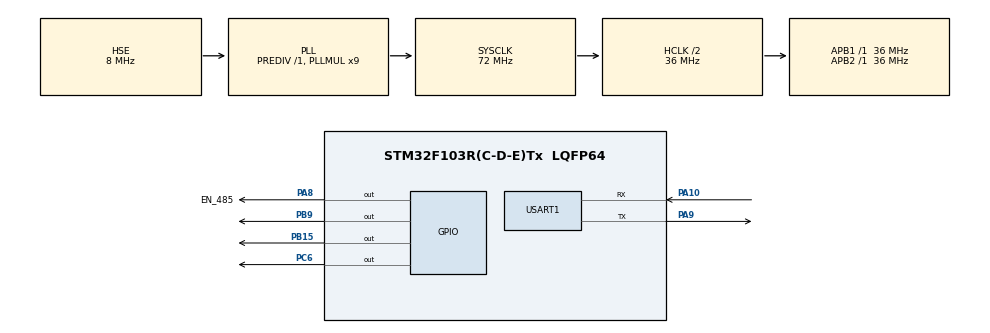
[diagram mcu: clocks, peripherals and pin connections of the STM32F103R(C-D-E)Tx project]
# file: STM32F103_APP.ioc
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Mcu.Family=STM32F1
Mcu.Name=STM32F103R(C-D-E)Tx
Mcu.Package=LQFP64
NVIC.PriorityGroup=NVIC_PRIORITYGROUP_4
NVIC.USART1_IRQn=true\:0\:0\:false\:false\:true\:true\:true\:true
PA10.Mode=Asynchronous
PA10.Signal=USART1_RX
PA13.Mode=Serial_Wire
PA13.Signal=SYS_JTMS-SWDIO
PA14.Mode=Serial_Wire
PA14.Signal=SYS_JTCK-SWCLK
PA8.GPIO_Label=EN_485
PA8.Signal=GPIO_Output
PA9.Mode=Asynchronous
PA9.Signal=USART1_TX
PB15.PinState=GPIO_PIN_SET
PB15.Signal=GPIO_Output
PB9.PinState=GPIO_PIN_SET
PB9.Signal=GPIO_Output
PC6.PinState=GPIO_PIN_SET
PC6.Signal=GPIO_Output
PD0-OSC_IN.Mode=HSE-External-Oscillator
PD0-OSC_IN.Signal=RCC_OSC_IN
PD1-OSC_OUT.Mode=HSE-External-Oscillator
PD1-OSC_OUT.Signal=RCC_OSC_OUT
ProjectManager.HeapSize=0x200
ProjectManager.StackSize=0x400
ProjectManager.TargetToolchain=MDK-ARM V5.32
RCC.AHBCLKDivider=RCC_SYSCLK_DIV2
RCC.AHBFreq_Value=36000000
RCC.APB1Freq_Value=36000000
RCC.APB1TimFreq_Value=36000000
RCC.APB2Freq_Value=36000000
RCC.APB2TimFreq_Value=36000000
RCC.HCLKFreq_Value=36000000
RCC.PLLMUL=RCC_PLL_MUL9
RCC.PLLSourceVirtual=RCC_PLLSOURCE_HSE
RCC.SYSCLKFreq_VALUE=72000000
RCC.SYSCLKSource=RCC_SYSCLKSOURCE_PLLCLK
RCC.USBFreq_Value=72000000
USART1.VirtualMode=VM_ASYNC
board=custom

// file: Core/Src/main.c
/* USER CODE BEGIN Header */
/**
  ******************************************************************************
  * @file           : main.c
  * @brief          : Main program body
  ******************************************************************************
  * @attention
  *
  * Copyright (c) 2026 STMicroelectronics.
  * All rights reserved.
  *
  * This software is licensed under terms that can be found in the LICENSE file
  * in the root directory of this software component.
  * If no LICENSE file comes with this software, it is provided AS-IS.
  *
  ******************************************************************************
  */
/* USER CODE END Header */
#include "main.h"
#include "usart.h"
#include "gpio.h"

/* USER CODE BEGIN Includes */
#include "stdio.h"
#include "multiple_delay.h"
#include "micro_shell.h"
#include "subscribe_publish.h"
/* USER CODE END Includes */

void SystemClock_Config(void);

/* USER CODE BEGIN 0 */
static micro_shell_t                 s_tShellObj;
static subscribe_publish_t           s_tSubPub;
uint8_t s_chBuffer[1024] ;
static byte_queue_t                  s_tUartQueue;
def_topic(&s_tSubPub, string_test_topic, char*);

multiple_delay_t tDelayService;
static uint8_t s_chDelayPool[10 * sizeof(multiple_delay_item_t)];

typedef struct {
	multiple_delay_item_t *ptDelayItem;
    uint32_t delay_tick;
    multiple_delay_request_priority_t priority;
} delay_task_param_t;

static delay_task_param_t s_tHighTask = {
    .delay_tick = 1000,
    .priority = MULTIPLE_DELAY_HIGH_PRIORITY,
};

static delay_task_param_t s_tNormalTask = {
    .delay_tick = 2000,
    .priority = MULTIPLE_DELAY_NORMAL_PRIORITY,
};

static delay_task_param_t s_tLowTask = {
    .delay_tick = 3000,
    .priority = MULTIPLE_DELAY_LOW_PRIORITY,
};

void on_delay_task_high(multiple_delay_report_status_t status, void *pTag)
{
    delay_task_param_t *ptTask = (delay_task_param_t *)pTag;

    if (status == MULTIPLE_DELAY_TIMEOUT) {

        publish(&s_tSubPub, __MSG_TOPIC(string_test_topic), (char *)"high");

        ptTask->ptDelayItem = MULTIPLE_DELAY.RequestDelay(
            &tDelayService,
            ptTask->delay_tick,
            ptTask->priority,
            ptTask,
            on_delay_task_high
        );
    }
}

void on_delay_task_normal(multiple_delay_report_status_t status, void *pTag)
{
    delay_task_param_t *ptTask = (delay_task_param_t *)pTag;

    if (status == MULTIPLE_DELAY_TIMEOUT) {
        printf("normal\r\n");

        ptTask->ptDelayItem = MULTIPLE_DELAY.RequestDelay(
            &tDelayService,
            ptTask->delay_tick,
            ptTask->priority,
            ptTask,
            on_delay_task_normal
        );
    }
}

void on_delay_task_low(multiple_delay_report_status_t status, void *pTag)
{
    delay_task_param_t *ptTask = (delay_task_param_t *)pTag;

    if (status == MULTIPLE_DELAY_TIMEOUT) {
        printf("low\r\n");

        ptTask->ptDelayItem = MULTIPLE_DELAY.RequestDelay(
            &tDelayService,
            ptTask->delay_tick,
            ptTask->priority,
            ptTask,
            on_delay_task_low
        );
    }
}

void task_high_task(delay_task_param_t *ptTask, char *chDate)
{
    printf("%s\r\n",chDate);
}

uint16_t shell_read_data(micro_shell_t *ptObj, char *pchBuffer, uint16_t hwSize)
{
    return dequeue_bytes(&s_tUartQueue, (uint8_t *)pchBuffer, hwSize);
}

uint16_t shell_write_data(micro_shell_t *ptObj, const char *pchBuffer, uint16_t hwSize)
{
    uart_sent_data(&huart1, (uint8_t *)pchBuffer, hwSize);
	return hwSize;
}

int reboot(void)
{
    SCB->AIRCR = 0X05FA0000 | (uint32_t)0x04;
    return 0;
}
MSH_CMD_EXPORT(reboot, reboot)

int cancel(int argc, char **argv)
{
	if(!strcmp(argv[1], "high")) {
        MULTIPLE_DELAY.Cancel(&tDelayService,s_tHighTask.ptDelayItem);
	}
	if(!strcmp(argv[1], "normal")) {
        MULTIPLE_DELAY.Cancel(&tDelayService,s_tNormalTask.ptDelayItem);
	}
	if(!strcmp(argv[1], "low")) {
        MULTIPLE_DELAY.Cancel(&tDelayService,s_tLowTask.ptDelayItem);
	}
    return 0;
}
MSH_CMD_EXPORT(cancel,eg:cancel high/normal/low)

/* USER CODE END 0 */

int main(void)
{

  /* MCU Configuration--------------------------------------------------------*/

  /* Reset of all peripherals, Initializes the Flash interface and the Systick. */
  HAL_Init();

  /* USER CODE BEGIN Init */

	SCB->VTOR = APP_PART_ADDR;
  /* USER CODE END Init */

  /* Configure the system clock */
  SystemClock_Config();

  /* USER CODE BEGIN SysInit */
	queue_init(&s_tUartQueue, s_chBuffer, sizeof(s_chBuffer));
	connect(&tUartMsgObj, SIGNAL(uart_sig), &s_tUartQueue, SLOT(enqueue_bytes));
  /* USER CODE END SysInit */

  /* Initialize all configured peripherals */
  MX_GPIO_Init();
  MX_USART1_UART_Init();
  /* USER CODE BEGIN 2 */

    shell_ops_t s_tOps = {
        .fnReadData = shell_read_data,
		.fnWriteData = shell_write_data,
    };
    shell_init(&s_tShellObj,&s_tOps);

    multiple_delay_cfg_t cfg = {
        .pchBuffer = s_chDelayPool,
        .nSize = sizeof(s_chDelayPool),
    };
    MULTIPLE_DELAY.Init(&tDelayService, &cfg);

    s_tHighTask.ptDelayItem = MULTIPLE_DELAY.RequestDelay(
        &tDelayService,
        s_tHighTask.delay_tick,
        s_tHighTask.priority,
        &s_tHighTask,
        on_delay_task_high
    );

    s_tNormalTask.ptDelayItem = MULTIPLE_DELAY.RequestDelay(
        &tDelayService,
        s_tNormalTask.delay_tick,
        s_tNormalTask.priority,
        &s_tNormalTask,
        on_delay_task_normal
    );

    s_tLowTask.ptDelayItem = MULTIPLE_DELAY.RequestDelay(
        &tDelayService,
        s_tLowTask.delay_tick,
        s_tLowTask.priority,
        &s_tLowTask,
        on_delay_task_low
    );

    subscribe_publish_init(&s_tSubPub);
    subscribe(&s_tSubPub, __MSG_TOPIC(string_test_topic), &s_tHighTask, task_high_task);

  /* USER CODE END 2 */

  /* Infinite loop */
  while (1)
  {

    /* USER CODE BEGIN 3 */
	  micro_shell_exec(&s_tShellObj );
      subscribe_publish_exec(&s_tSubPub);
	  MULTIPLE_DELAY.Task(&tDelayService);
  }
  /* USER CODE END 3 */
}

void SystemClock_Config(void)
{
  RCC_OscInitTypeDef RCC_OscInitStruct = {0};
  RCC_ClkInitTypeDef RCC_ClkInitStruct = {0};

  /** Initializes the RCC Oscillators according to the specified parameters
  * in the RCC_OscInitTypeDef structure.
  */
  RCC_OscInitStruct.OscillatorType = RCC_OSCILLATORTYPE_HSE;
  RCC_OscInitStruct.HSEState = RCC_HSE_ON;
  RCC_OscInitStruct.HSEPredivValue = RCC_HSE_PREDIV_DIV1;
  RCC_OscInitStruct.HSIState = RCC_HSI_ON;
  RCC_OscInitStruct.PLL.PLLState = RCC_PLL_ON;
  RCC_OscInitStruct.PLL.PLLSource = RCC_PLLSOURCE_HSE;
  RCC_OscInitStruct.PLL.PLLMUL = RCC_PLL_MUL9;
  if (HAL_RCC_OscConfig(&RCC_OscInitStruct) != HAL_OK)
  {
    Error_Handler();
  }

  /** Initializes the CPU, AHB and APB buses clocks
  */
  RCC_ClkInitStruct.ClockType = RCC_CLOCKTYPE_HCLK|RCC_CLOCKTYPE_SYSCLK
                              |RCC_CLOCKTYPE_PCLK1|RCC_CLOCKTYPE_PCLK2;
  RCC_ClkInitStruct.SYSCLKSource = RCC_SYSCLKSOURCE_PLLCLK;
  RCC_ClkInitStruct.AHBCLKDivider = RCC_SYSCLK_DIV2;
  RCC_ClkInitStruct.APB1CLKDivider = RCC_HCLK_DIV1;
  RCC_ClkInitStruct.APB2CLKDivider = RCC_HCLK_DIV1;

  if (HAL_RCC_ClockConfig(&RCC_ClkInitStruct, FLASH_LATENCY_2) != HAL_OK)
  {
    Error_Handler();
  }
}

/* USER CODE BEGIN 4 */

typedef struct {
    char chProjectName[16];
    char chHardWareVersion[16];
    char chSoftBootVersion[16];
    char chSoftAppVersion[16];
    char chPortName[16];
	int wPortBaudrate;
} msgSig_t;
typedef struct {
    union {
        msgSig_t sig;
        char B[sizeof(msgSig_t)];
    } msg_data;
} user_data_t;

user_data_t  tUserData = {
    .msg_data.sig.chProjectName = "app",
};

typedef struct {
    void (*fnGoToBoot)(uint8_t *pchDate, uint16_t hwLength);
    bool (*target_flash_init)(uint32_t addr);
    bool (*target_flash_uninit)(uint32_t addr);
    int  (*target_flash_read)(uint32_t addr, uint8_t *buf, size_t size);
    int  (*target_flash_write)(uint32_t addr, const uint8_t *buf, size_t size);
    int  (*target_flash_erase)(uint32_t addr, size_t size);
} boot_ops_t;

void boot()
{
    memcpy(tUserData.msg_data.sig.chPortName, "UART1", strlen("UART1"));
    tUserData.msg_data.sig.wPortBaudrate = 115200;
    boot_ops_t *ptBootOps = (boot_ops_t *) BOOT_FLASH_OPS_ADDR;
    ptBootOps->fnGoToBoot((uint8_t *)tUserData.msg_data.B, sizeof(tUserData));
    reboot();
}
MSH_CMD_EXPORT(boot, go to bootloader);
/* USER CODE END 4 */

void Error_Handler(void)
{
  __disable_irq();
  while (1)
  {
  }
}
